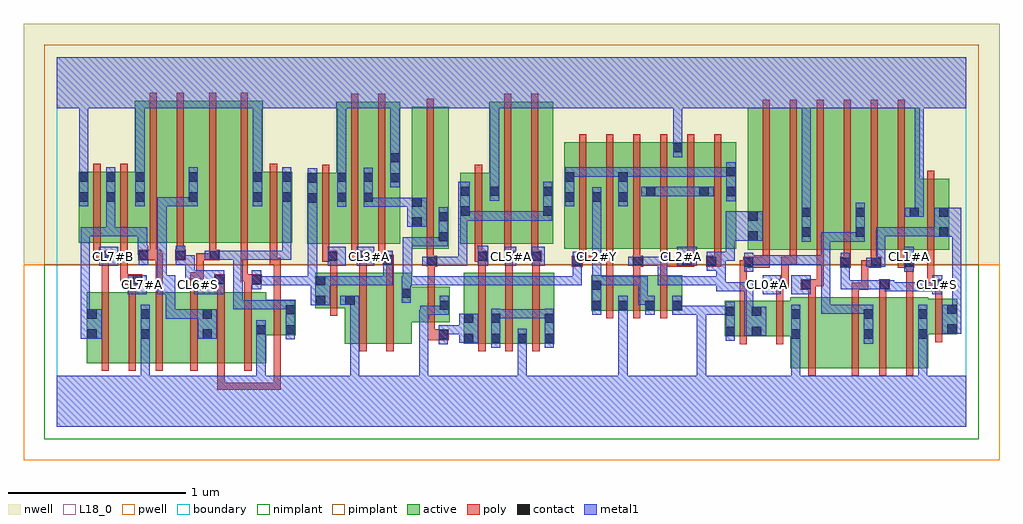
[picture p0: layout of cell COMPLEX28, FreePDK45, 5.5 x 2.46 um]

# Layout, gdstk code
import gdstk
lib = gdstk.Library(unit=1e-6, precision=1e-09)
def R(c, l, rs):  # rectangles x0, y0, x1, y1
    for r in rs: c.add(gdstk.rectangle(r[:2], r[2:], *l))
def A(c, l, x, y, w, h, nx, ny, dx, dy):  # array of equal rectangles
    R(c, l, [(x+i*dx, y+j*dy, x+i*dx+w, y+j*dy+h) for i in range(nx) for j in range(ny)])
active = (1, 0)
pwell = (2, 0)
nwell = (3, 0)
nimplant = (4, 0)
pimplant = (5, 0)
poly = (9, 0)
contact = (10, 0)
metal1 = (11, 0)
L18_0 = (18, 0)
boundary = (235, 0)

complex28 = lib.new_cell('COMPLEX28')
A(complex28, active, 4.07, 0.996, 0.18, 0.8, 3, 1, 0.304, 0)
R(complex28, active, [(4.13,0.33,4.37,0.73), (4.37,0.33,4.6,0.73), (4.54,0.33,4.726,0.73), (4.726,0.33,4.906,0.73), (4.846,0.33,4.906,0.664), (0.168,0.358,0.348,0.758), (0.348,0.358,0.528,0.758), (0.468,0.358,0.67,0.758), (0.67,0.358,0.876,0.758), (0.816,0.358,1,0.758), (1,0.358,1.18,0.758), (0.168,0.468,0.228,0.758), (0.468,0.468,0.528,0.664), (0.816,0.468,0.876,0.664), (1.62,0.468,1.8,0.868), (1.62,0.468,1.68,0.868), (1.8,0.468,1.998,0.868), (1.938,0.468,1.998,0.782), (2.29,0.468,2.35,0.868), (2.29,0.468,2.502,0.868), (2.442,0.468,2.502,0.868), (2.442,0.468,2.65,0.868), (2.59,0.468,2.802,0.868), (2.59,0.468,2.65,0.854), (2.742,0.468,2.802,0.868), (4.54,0.468,4.6,0.73), (4.13,0.492,4.19,0.708), (3.762,0.508,3.822,0.708), (3.762,0.508,3.97,0.708), (3.91,0.508,3.97,0.708), (3.91,0.508,4.19,0.708), (1.12,0.516,1.344,0.716), (1.12,0.516,1.18,0.576), (1.284,0.516,1.344,0.716), (4.846,0.52,5.07,0.72), (5.01,0.52,5.07,0.72), (1.938,0.588,2.212,0.788), (2.152,0.588,2.212,0.788), (3.01,0.654,3.07,0.854), (3.01,0.654,3.218,0.854), (3.158,0.654,3.37,0.854), (3.158,0.654,3.218,0.714), (3.31,0.654,3.37,0.854), (3.31,0.654,3.522,0.854), (3.462,0.654,3.522,0.854), (1.454,0.668,1.514,0.868), (1.454,0.668,1.68,0.868), (3.89,0.996,4.07,1.796), (3.89,0.996,3.974,1.724), (4.19,0.996,4.374,1.796), (4.19,0.996,4.25,1.756), (4.494,0.996,4.678,1.796), (4.494,0.996,4.554,1.724), (4.798,0.996,4.858,1.356), (4.798,0.996,5.024,1.396), (4.964,0.996,5.024,1.356), (1.998,1.002,2.058,1.724), (1.998,1.002,2.206,1.802), (2.146,1.002,2.206,1.724), (2.858,1.002,2.918,1.556), (2.858,1.002,3.07,1.602), (3.01,1.002,3.07,1.556), (3.01,1.002,3.218,1.602), (3.158,1.002,3.218,1.556), (3.158,1.002,3.374,1.602), (3.314,1.002,3.374,1.556), (3.314,1.002,3.526,1.602), (3.466,1.002,3.674,1.602), (3.614,1.002,3.674,1.556), (3.614,1.002,3.826,1.602), (3.766,1.002,3.826,1.556), (1.41,1.03,1.47,1.43), (1.41,1.03,1.634,1.43), (1.574,1.03,1.784,1.83), (1.574,1.03,1.634,1.434), (1.724,1.03,1.934,1.83), (2.27,1.03,2.33,1.356), (2.27,1.03,2.494,1.43), (2.434,1.03,2.614,1.83), (2.434,1.03,2.494,1.356), (2.614,1.03,2.794,1.83), (2.734,1.03,2.794,1.724), (0.122,1.036,0.182,1.436), (0.122,1.036,0.334,1.436), (0.274,1.036,0.334,1.436), (0.274,1.036,0.498,1.436), (0.438,1.036,0.498,1.436), (0.438,1.036,0.618,1.836), (0.618,1.036,0.798,1.836), (0.738,1.036,0.98,1.836), (0.98,1.036,1.16,1.836), (1.1,1.036,1.16,1.436), (1.1,1.036,1.324,1.436), (1.264,1.036,1.324,1.436), (3.466,1.164,3.526,1.602), (0.738,1.206,0.798,1.724), (1.724,1.206,1.784,1.724), (1.874,1.206,1.934,1.756)])
R(complex28, pwell, [(-0.188,-0.188,5.308,0.912)])
R(complex28, nwell, [(-0.188,0.912,5.308,2.268)])
R(complex28, nimplant, [(-0.072,-0.072,5.192,0.912)])
R(complex28, pimplant, [(-0.072,0.912,5.192,2.152)])
A(complex28, poly, 0.252, 0.314, 0.04, 0.488, 3, 1, 0.152, 0)
A(complex28, poly, 0.752, 0.314, 0.04, 0.488, 3, 1, 0.152, 0)
A(complex28, poly, 2.374, 0.424, 0.04, 0.488, 3, 1, 0.152, 0)
A(complex28, poly, 3.094, 0.61, 0.04, 0.288, 3, 1, 0.152, 0)
A(complex28, poly, 2.374, 0.872, 0.04, 0.098, 3, 1, 0.152, 0)
A(complex28, poly, 4.43, 0.916, 0.04, 0.076, 3, 1, 0.152, 0)
A(complex28, poly, 2.942, 0.922, 0.04, 0.076, 3, 1, 0.152, 0)
A(complex28, poly, 3.974, 0.952, 0.04, 0.888, 6, 1, 0.152, 0)
A(complex28, poly, 2.942, 0.958, 0.04, 0.688, 6, 1, 0.152, 0)
R(complex28, poly, [(0.904,0.208,0.944,0.248), (0.904,0.208,0.944,0.248), (0.904,0.208,0.944,0.248), (0.904,0.208,1.052,0.248), (0.904,0.208,0.944,0.354), (1.012,0.208,1.052,0.248), (1.012,0.208,1.052,0.248), (1.012,0.208,1.052,0.248), (1.012,0.208,1.26,0.248), (1.22,0.208,1.26,0.248), (1.22,0.208,1.26,0.248), (1.22,0.208,1.26,0.248), (1.22,0.208,1.26,0.248), (1.22,0.208,1.26,0.248), (1.22,0.208,1.26,0.512), (4.232,0.286,4.272,0.774), (4.476,0.286,4.516,0.774), (4.63,0.286,4.67,0.774), (4.782,0.286,4.822,0.774), (1.704,0.424,1.744,0.912), (1.856,0.424,1.896,0.912), (3.846,0.464,3.886,0.752), (4.05,0.464,4.09,0.752), (1.22,0.472,1.26,0.76), (4.946,0.476,4.986,0.764), (2.088,0.488,2.206,0.548), (2.088,0.508,2.128,0.584), (2.088,0.544,2.128,0.832), (1.538,0.624,1.578,0.912), (3.846,0.712,3.886,0.936), (4.05,0.712,4.09,0.81), (1.22,0.72,1.26,0.95), (4.946,0.724,4.986,0.81), (4.232,0.734,4.272,0.81), (4.476,0.734,4.516,0.81), (4.63,0.734,4.67,0.81), (4.782,0.734,4.822,0.936), (0.252,0.762,0.292,0.97), (0.404,0.762,0.444,0.838), (0.556,0.762,0.596,0.976), (0.752,0.762,0.792,0.87), (0.904,0.762,0.944,0.838), (1.056,0.762,1.096,0.838), (4.02,0.77,4.12,0.83), (4.19,0.77,4.272,0.83), (4.476,0.77,4.516,0.81), (4.476,0.77,4.57,0.81), (4.53,0.77,4.57,0.81), (4.53,0.77,4.57,0.936), (4.63,0.77,4.69,0.83), (4.926,0.77,4.986,0.83), (4.08,0.79,4.12,0.956), (4.232,0.79,4.272,0.83), (4.232,0.79,4.318,0.83), (4.278,0.79,4.318,0.992), (4.9,0.79,4.94,0.992), (4.9,0.79,4.966,0.83), (4.926,0.79,4.966,0.83), (2.088,0.792,2.128,0.942), (0.358,0.798,0.482,0.858), (0.886,0.798,0.946,0.858), (1.056,0.798,1.154,0.858), (0.358,0.818,0.398,0.858), (0.358,0.818,0.398,0.858), (0.358,0.818,0.398,1.032), (1.036,0.818,1.096,0.858), (1.036,0.818,1.076,1.032), (1.056,0.818,1.096,0.858), (0.752,0.83,0.792,0.87), (0.752,0.83,0.826,0.87), (0.786,0.83,0.826,0.87), (0.786,0.83,0.826,0.976), (3.094,0.858,3.134,0.962), (3.246,0.858,3.286,0.942), (3.398,0.858,3.438,0.942), (1.538,0.872,1.578,0.97), (1.704,0.872,1.744,0.97), (1.856,0.872,1.896,0.948), (3.846,0.896,3.906,0.936), (3.866,0.896,3.906,0.936), (3.866,0.896,4.014,0.956), (4.41,0.896,4.47,0.956), (4.53,0.896,4.57,0.936), (4.53,0.896,4.622,0.936), (4.582,0.896,4.642,0.956), (4.734,0.896,4.828,0.956), (4.782,0.896,4.822,0.936), (4.782,0.896,4.822,0.936), (2.082,0.902,2.142,0.962), (2.088,0.902,2.128,0.942), (2.088,0.902,2.128,0.942), (2.9,0.902,2.96,0.962), (3.242,0.902,3.302,0.962), (3.398,0.902,3.438,0.942), (3.398,0.902,3.438,0.942), (3.398,0.902,3.438,0.942), (3.398,0.902,3.558,0.942), (3.398,0.902,3.438,0.998), (3.518,0.902,3.558,0.942), (3.518,0.902,3.558,0.942), (3.518,0.902,3.59,0.962), (3.656,0.902,3.742,0.962), (1.834,0.908,1.896,0.968), (1.2,0.91,1.26,0.95), (1.2,0.91,1.24,1.032), (1.22,0.91,1.26,0.95), (1.22,0.91,1.26,0.95), (3.974,0.916,4.014,0.992), (4.08,0.916,4.166,0.956), (4.126,0.916,4.166,0.992), (2.082,0.922,2.122,0.998), (2.92,0.922,2.96,0.962), (2.92,0.922,2.982,0.962), (2.942,0.922,2.982,0.962), (2.942,0.922,2.982,0.962), (2.942,0.922,3.134,0.962), (3.094,0.922,3.134,0.962), (3.094,0.922,3.134,0.962), (3.094,0.922,3.134,0.962), (3.246,0.922,3.286,0.962), (3.246,0.922,3.286,0.962), (3.55,0.922,3.59,0.998), (3.702,0.922,3.742,0.998), (1.81,0.928,1.85,1.026), (1.81,0.928,1.874,0.968), (1.834,0.928,1.874,0.968), (0.234,0.93,0.294,0.99), (1.494,0.93,1.58,0.99), (1.538,0.93,1.578,0.97), (1.538,0.93,1.578,0.97), (1.658,0.93,1.744,0.99), (1.704,0.93,1.744,0.97), (1.704,0.93,1.744,0.97), (2.354,0.93,2.426,0.99), (2.374,0.93,2.414,0.97), (2.374,0.93,2.414,0.97), (2.518,0.93,2.578,0.99), (2.526,0.93,2.566,0.97), (2.526,0.93,2.566,0.97), (2.67,0.93,2.73,0.99), (2.678,0.93,2.718,0.97), (2.678,0.93,2.718,0.97), (0.458,0.936,0.588,0.996), (0.548,0.936,0.588,0.976), (0.548,0.936,0.596,0.976), (0.666,0.936,0.726,0.996), (0.786,0.936,0.826,0.976), (0.786,0.936,0.898,0.976), (0.858,0.936,0.918,0.996), (0.206,0.95,0.246,1.032), (0.206,0.95,0.274,0.99), (0.234,0.95,0.274,0.99), (1.494,0.95,1.534,1.026), (1.658,0.95,1.698,1.026), (2.354,0.95,2.394,1.026), (2.518,0.95,2.558,1.026), (2.67,0.95,2.71,1.026), (4.9,0.952,4.94,1.44), (0.522,0.956,0.562,1.032), (0.674,0.956,0.714,1.032), (0.858,0.956,0.898,1.032), (2.082,0.958,2.122,1.846), (1.494,0.986,1.534,1.474), (1.658,0.986,1.698,1.874), (1.81,0.986,1.85,1.874), (2.354,0.986,2.394,1.474), (2.518,0.986,2.558,1.874), (2.67,0.986,2.71,1.874), (0.206,0.992,0.246,1.48), (0.358,0.992,0.398,1.48), (0.522,0.992,0.562,1.88), (0.674,0.992,0.714,1.88), (0.858,0.992,0.898,1.88), (1.036,0.992,1.076,1.88), (1.2,0.992,1.24,1.48)])
A(complex28, contact, 3.162, 0.658, 0.052, 0.052, 3, 1, 0.152, 0)
A(complex28, contact, 2.37, 0.934, 0.052, 0.052, 3, 1, 0.152, 0)
A(complex28, contact, 4.194, 1.182, 0.052, 0.052, 3, 1, 0.304, 0)
R(complex28, contact, [(2.294,0.472,2.346,0.524), (2.446,0.472,2.498,0.524), (2.594,0.472,2.646,0.524), (2.746,0.472,2.798,0.524), (2.15,0.492,2.202,0.544), (0.172,0.496,0.224,0.548), (0.472,0.496,0.524,0.548), (0.82,0.496,0.872,0.548), (4.134,0.496,4.186,0.548), (4.544,0.496,4.596,0.548), (4.85,0.496,4.902,0.548), (3.766,0.512,3.818,0.564), (3.914,0.512,3.966,0.564), (1.124,0.52,1.176,0.572), (1.288,0.52,1.34,0.572), (5.014,0.524,5.066,0.576), (2.294,0.584,2.346,0.636), (2.446,0.584,2.498,0.636), (2.746,0.584,2.798,0.636), (0.172,0.608,0.224,0.66), (0.472,0.608,0.524,0.66), (0.82,0.608,0.872,0.66), (4.134,0.608,4.186,0.66), (4.544,0.608,4.596,0.66), (4.85,0.608,4.902,0.66), (3.766,0.624,3.818,0.676), (3.914,0.624,3.966,0.676), (1.288,0.632,1.34,0.684), (5.014,0.636,5.066,0.688), (2.156,0.658,2.208,0.71), (3.014,0.658,3.066,0.71), (1.458,0.684,1.51,0.736), (1.624,0.686,1.676,0.738), (1.942,0.726,1.994,0.778), (3.014,0.77,3.066,0.822), (4.024,0.774,4.076,0.826), (4.194,0.774,4.246,0.826), (4.634,0.774,4.686,0.826), (4.93,0.774,4.982,0.826), (1.458,0.796,1.51,0.848), (0.426,0.802,0.478,0.854), (0.89,0.802,0.942,0.854), (1.098,0.802,1.15,0.854), (3.87,0.9,3.922,0.952), (4.414,0.9,4.466,0.952), (4.586,0.9,4.638,0.952), (4.772,0.9,4.824,0.952), (2.086,0.906,2.138,0.958), (2.904,0.906,2.956,0.958), (3.246,0.906,3.298,0.958), (3.522,0.906,3.574,0.958), (3.66,0.906,3.712,0.958), (1.838,0.912,1.89,0.964), (0.238,0.934,0.29,0.986), (1.524,0.934,1.576,0.986), (1.688,0.934,1.74,0.986), (0.462,0.94,0.514,0.992), (0.67,0.94,0.722,0.992), (0.862,0.94,0.914,0.992), (2.15,1.044,2.202,1.096), (3.894,1.048,3.946,1.1), (4.194,1.07,4.246,1.122), (4.498,1.07,4.55,1.122), (4.968,1.07,5.02,1.122), (2.002,1.126,2.054,1.178), (2.15,1.156,2.202,1.208), (3.894,1.16,3.946,1.212), (4.968,1.182,5.02,1.234), (2.274,1.188,2.326,1.24), (2.738,1.188,2.79,1.24), (2.002,1.238,2.054,1.29), (1.414,1.262,1.466,1.314), (1.578,1.266,1.63,1.318), (1.728,1.266,1.78,1.318), (0.126,1.268,0.178,1.32), (0.278,1.268,0.33,1.32), (0.442,1.268,0.494,1.32), (0.742,1.268,0.794,1.32), (1.104,1.268,1.156,1.32), (1.268,1.268,1.32,1.32), (2.862,1.268,2.914,1.32), (3.014,1.268,3.066,1.32), (3.162,1.268,3.214,1.32), (3.318,1.298,3.37,1.35), (3.618,1.298,3.67,1.35), (3.77,1.298,3.822,1.35), (2.274,1.3,2.326,1.352), (2.438,1.3,2.49,1.352), (2.738,1.3,2.79,1.352), (1.414,1.374,1.466,1.426), (1.878,1.376,1.93,1.428), (1.578,1.378,1.63,1.43), (1.728,1.378,1.78,1.43), (0.126,1.38,0.178,1.432), (0.278,1.38,0.33,1.432), (0.442,1.38,0.494,1.432), (0.742,1.38,0.794,1.432), (1.104,1.38,1.156,1.432), (1.268,1.38,1.32,1.432), (2.862,1.38,2.914,1.432), (3.162,1.38,3.214,1.432), (3.77,1.41,3.822,1.462), (1.878,1.488,1.93,1.54), (3.47,1.546,3.522,1.598)])
A(complex28, metal1, 3.162, 0.63, 0.052, 0.108, 3, 1, 0.152, 0)
R(complex28, metal1, [(0,0,5.12,0.288), (0.472,0.236,0.524,0.52), (1.124,0.236,1.176,0.288), (1.124,0.236,1.176,0.288), (1.124,0.236,1.176,0.544), (1.652,0.236,1.704,0.738), (2.04,0.236,2.092,0.288), (2.04,0.236,2.092,0.288), (2.04,0.236,2.092,0.288), (2.04,0.236,2.092,0.288), (2.04,0.236,2.092,0.288), (2.04,0.236,2.092,0.288), (2.04,0.236,2.092,0.658), (2.594,0.236,2.646,0.496), (3.162,0.236,3.214,0.682), (3.604,0.236,3.656,0.682), (4.134,0.236,4.186,0.52), (4.85,0.236,4.902,0.288), (4.85,0.236,4.902,0.288), (4.85,0.236,4.902,0.52), (2.446,0.444,2.498,0.664), (2.594,0.444,2.646,0.496), (2.594,0.444,2.646,0.496), (2.594,0.444,2.646,0.552), (2.746,0.444,2.798,0.664), (2.15,0.464,2.202,0.572), (0.472,0.468,0.524,0.52), (0.472,0.468,0.524,0.52), (0.472,0.468,0.524,0.688), (4.134,0.468,4.186,0.52), (4.134,0.468,4.186,0.52), (4.134,0.468,4.186,0.688), (4.544,0.468,4.596,0.688), (4.85,0.468,4.902,0.688), (2.266,0.472,2.374,0.636), (3.766,0.484,3.818,0.704), (1.124,0.492,1.176,0.6), (1.288,0.492,1.34,0.712), (0.134,0.496,0.252,0.66), (0.792,0.496,0.9,0.66), (3.87,0.512,3.994,0.676), (2.15,0.52,2.312,0.572), (2.26,0.52,2.312,0.572), (2.26,0.52,2.318,0.572), (4.986,0.524,5.094,0.688), (2.04,0.606,2.098,0.658), (2.046,0.606,2.098,0.682), (0.134,0.608,0.186,0.958), (0.614,0.608,0.666,0.66), (0.614,0.608,0.666,0.66), (0.614,0.608,0.666,0.66), (0.614,0.608,0.666,0.798), (0.614,0.608,0.844,0.66), (2.446,0.61,2.608,0.662), (2.556,0.61,2.608,0.662), (2.556,0.61,2.608,0.662), (2.556,0.61,2.608,0.662), (2.556,0.61,2.798,0.662), (2.746,0.61,2.798,0.662), (2.746,0.61,2.798,0.662), (3.87,0.624,3.922,0.814), (2.046,0.63,2.098,0.682), (2.046,0.63,2.202,0.682), (2.15,0.63,2.202,0.682), (2.15,0.63,2.208,0.682), (2.156,0.63,2.208,0.738), (3.014,0.63,3.066,0.85), (3.162,0.63,3.214,0.682), (3.162,0.63,3.214,0.682), (3.162,0.63,3.214,0.682), (3.162,0.63,3.214,0.682), (3.162,0.63,3.214,0.682), (3.162,0.63,3.214,0.682), (3.466,0.63,3.546,0.682), (3.494,0.63,3.546,0.682), (3.494,0.63,3.656,0.682), (3.604,0.63,3.656,0.682), (3.604,0.63,3.656,0.682), (3.604,0.63,3.656,0.682), (3.604,0.63,3.656,0.682), (3.604,0.63,3.656,0.682), (3.604,0.63,3.656,0.682), (3.604,0.63,3.656,0.682), (3.604,0.63,3.656,0.682), (3.604,0.63,3.656,0.682), (3.604,0.63,3.656,0.682), (3.604,0.63,3.656,0.682), (3.604,0.63,3.766,0.682), (3.714,0.63,3.766,0.682), (3.714,0.63,3.818,0.682), (4.304,0.636,4.356,0.688), (4.304,0.636,4.356,0.688), (4.304,0.636,4.356,0.688), (4.304,0.636,4.356,0.688), (4.304,0.636,4.356,0.688), (4.304,0.636,4.596,0.688), (4.304,0.636,4.356,0.964), (5.042,0.636,5.094,1.122), (5.042,0.636,5.094,0.688), (5.042,0.636,5.094,0.688), (5.042,0.636,5.094,0.688), (5.042,0.636,5.094,0.688), (0.994,0.66,1.046,0.712), (0.994,0.66,1.046,0.712), (0.994,0.66,1.046,0.712), (0.994,0.66,1.202,0.712), (0.994,0.66,1.046,0.992), (1.15,0.66,1.202,0.712), (1.15,0.66,1.202,0.712), (1.15,0.66,1.202,0.712), (1.15,0.66,1.34,0.712), (1.288,0.66,1.34,0.712), (1.288,0.66,1.34,0.712), (1.43,0.684,1.538,0.848), (1.596,0.686,1.704,0.738), (1.652,0.686,1.704,0.738), (1.652,0.686,1.704,0.738), (3.274,0.686,3.326,0.848), (3.274,0.686,3.366,0.738), (1.942,0.698,1.994,0.806), (0.398,0.746,0.506,0.854), (0.566,0.746,0.666,0.854), (0.774,0.746,0.942,0.882), (3.974,0.746,4.076,0.854), (4.134,0.746,4.246,0.854), (4.93,0.746,4.986,0.854), (1.942,0.754,1.994,0.848), (3.714,0.762,3.818,0.814), (3.714,0.762,3.766,0.848), (3.766,0.762,3.818,0.814), (3.766,0.762,3.876,0.814), (3.824,0.762,3.876,0.814), (3.824,0.762,3.922,0.814), (3.87,0.762,3.922,0.814), (4.662,0.762,4.824,0.814), (4.662,0.762,4.714,0.826), (4.772,0.762,4.824,0.814), (4.772,0.762,4.824,0.814), (4.772,0.762,4.824,0.814), (4.772,0.762,4.982,0.814), (1.098,0.774,1.15,0.882), (4.414,0.774,4.466,0.826), (4.414,0.774,4.658,0.826), (4.414,0.774,4.466,0.924), (4.606,0.774,4.714,0.826), (4.662,0.774,4.714,0.826), (1.098,0.796,1.202,0.848), (1.15,0.796,1.202,0.848), (1.15,0.796,1.312,0.848), (1.26,0.796,1.312,0.848), (1.26,0.796,1.312,0.848), (1.26,0.796,1.312,0.848), (1.26,0.796,1.466,0.848), (1.414,0.796,1.466,0.848), (1.414,0.796,1.466,0.848), (1.414,0.796,1.466,1.286), (1.414,0.796,1.482,0.848), (1.43,0.796,1.482,0.848), (1.43,0.796,1.482,0.848), (1.43,0.796,1.482,0.848), (1.43,0.796,1.67,0.848), (1.618,0.796,1.67,0.848), (1.618,0.796,1.67,0.848), (1.618,0.796,1.67,0.848), (1.618,0.796,1.78,0.848), (1.728,0.796,1.78,0.848), (1.728,0.796,1.89,0.848), (1.838,0.796,1.89,0.992), (1.942,0.796,1.994,0.848), (1.942,0.796,2,0.848), (1.948,0.796,2,0.848), (1.948,0.796,2,0.848), (1.948,0.796,2,0.848), (1.948,0.796,2.202,0.848), (1.948,0.796,2,1.068), (2.15,0.796,2.202,0.848), (2.15,0.796,2.312,0.848), (2.26,0.796,2.312,0.848), (2.26,0.796,2.312,0.848), (2.26,0.796,2.312,0.848), (2.26,0.796,2.422,0.848), (2.37,0.796,2.422,0.848), (2.37,0.796,2.498,0.848), (2.446,0.796,2.498,0.848), (2.446,0.796,2.616,0.848), (2.564,0.796,2.616,0.848), (2.564,0.796,2.616,0.848), (2.564,0.796,2.616,0.848), (2.564,0.796,2.802,0.848), (2.75,0.796,2.802,0.848), (2.75,0.796,2.802,0.848), (2.75,0.796,2.802,0.848), (2.75,0.796,2.956,0.848), (2.904,0.796,2.956,0.93), (3.014,0.796,3.066,0.848), (3.014,0.796,3.066,0.848), (3.014,0.796,3.176,0.848), (3.124,0.796,3.176,0.848), (3.124,0.796,3.326,0.848), (3.384,0.796,3.508,0.848), (3.384,0.796,3.436,0.958), (3.456,0.796,3.508,0.848), (3.456,0.796,3.546,0.848), (3.494,0.796,3.546,0.848), (3.494,0.796,3.656,0.848), (3.604,0.796,3.656,0.848), (3.604,0.796,3.656,0.848), (3.604,0.796,3.656,0.848), (3.604,0.796,3.766,0.848), (3.714,0.796,3.766,0.986), (3.014,0.798,3.066,0.958), (0.566,0.802,0.618,1.292), (0.724,0.83,0.776,0.964), (0.724,0.83,0.826,0.882), (3.87,0.872,3.922,0.98), (4.414,0.872,4.466,0.924), (4.414,0.872,4.466,0.924), (4.414,0.872,4.466,0.98), (4.772,0.872,4.826,1.014), (2.904,0.878,2.956,0.93), (2.904,0.878,2.956,0.986), (3.66,0.878,3.712,0.986), (4.558,0.9,4.666,0.952), (4.614,0.9,4.666,0.952), (4.614,0.9,4.666,0.952), (4.614,0.9,4.666,1.124), (0.134,0.906,0.186,1.014), (0.238,0.906,0.346,1.014), (1.524,0.906,1.626,1.014), (1.688,0.906,1.786,1.014), (2.058,0.906,2.166,0.958), (2.114,0.906,2.312,0.958), (2.26,0.906,2.312,0.958), (2.26,0.906,2.312,0.958), (2.26,0.906,2.312,0.958), (2.26,0.906,2.312,1.212), (2.37,0.906,2.43,1.018), (2.522,0.906,2.586,1.014), (2.674,0.906,2.746,1.014), (3.014,0.906,3.066,1.014), (3.218,0.906,3.326,0.958), (3.274,0.906,3.398,0.958), (3.346,0.906,3.398,0.958), (3.346,0.906,3.436,0.958), (3.494,0.906,3.602,1.014), (0.462,0.912,0.514,1.02), (0.67,0.912,0.722,1.02), (0.67,0.912,0.776,0.964), (0.724,0.912,0.776,0.964), (0.724,0.912,0.776,0.964), (3.87,0.912,4.076,0.964), (4.024,0.912,4.076,0.964), (4.024,0.912,4.076,0.964), (4.024,0.912,4.076,0.964), (4.024,0.912,4.186,0.964), (4.134,0.912,4.186,0.964), (4.134,0.912,4.186,0.964), (4.134,0.912,4.186,0.964), (4.134,0.912,4.356,0.964), (4.304,0.912,4.356,0.964), (4.304,0.912,4.356,1.094), (3.66,0.934,3.766,0.986), (3.714,0.934,3.766,0.986), (3.714,0.934,3.818,0.986), (3.766,0.934,3.818,0.986), (3.766,0.934,3.818,1.1), (0.834,0.94,0.942,0.992), (0.89,0.94,1.046,0.992), (0.994,0.94,1.046,0.992), (0.994,0.94,1.156,0.992), (1.104,0.94,1.156,0.992), (1.104,0.94,1.156,0.992), (1.104,0.94,1.156,0.992), (1.104,0.94,1.32,0.992), (1.268,0.94,1.32,0.992), (1.268,0.94,1.32,0.992), (1.268,0.94,1.32,0.992), (1.268,0.94,1.32,1.292), (0.134,0.962,0.186,1.124), (3.014,0.962,3.066,1.292), (0.456,0.968,0.514,1.02), (0.456,0.968,0.508,1.124), (1.948,1.016,2,1.068), (1.948,1.016,2.202,1.068), (2.15,1.016,2.202,1.068), (2.15,1.016,2.202,1.068), (2.15,1.016,2.202,1.236), (4.194,1.042,4.246,1.262), (4.304,1.042,4.356,1.094), (4.304,1.042,4.356,1.094), (4.304,1.042,4.356,1.094), (4.304,1.042,4.55,1.094), (4.498,1.042,4.55,1.262), (3.766,1.048,3.974,1.212), (4.94,1.07,5.094,1.234), (0.134,1.072,0.186,1.124), (0.134,1.072,0.186,1.124), (0.134,1.072,0.186,1.124), (0.134,1.072,0.33,1.124), (0.278,1.072,0.33,1.124), (0.278,1.072,0.33,1.124), (0.278,1.072,0.33,1.124), (0.278,1.072,0.33,1.292), (0.278,1.072,0.508,1.124), (4.614,1.072,4.666,1.124), (4.614,1.072,4.824,1.124), (4.772,1.072,4.824,1.124), (4.772,1.072,4.824,1.124), (4.772,1.072,4.824,1.124), (4.772,1.072,4.992,1.124), (4.94,1.072,4.992,1.124), (4.94,1.072,4.992,1.124), (1.974,1.126,2.082,1.29), (2.26,1.16,2.326,1.38), (2.274,1.16,2.436,1.212), (2.384,1.16,2.436,1.212), (2.384,1.16,2.436,1.212), (2.384,1.16,2.436,1.212), (2.384,1.16,2.608,1.212), (2.556,1.16,2.608,1.212), (2.556,1.16,2.608,1.212), (2.556,1.16,2.608,1.212), (2.556,1.16,2.79,1.212), (2.738,1.16,2.79,1.212), (2.738,1.16,2.79,1.212), (2.738,1.16,2.79,1.38), (4.774,1.182,4.882,1.234), (4.83,1.182,4.882,1.844), (4.194,1.21,4.246,1.844), (1.414,1.234,1.466,1.454), (1.578,1.238,1.63,1.458), (1.728,1.238,1.78,1.29), (1.728,1.238,1.78,1.29), (1.728,1.238,1.78,1.458), (1.728,1.238,1.89,1.29), (1.838,1.238,1.89,1.29), (1.838,1.238,1.89,1.29), (1.838,1.238,1.89,1.29), (1.838,1.238,2.026,1.29), (0.126,1.24,0.178,1.46), (0.278,1.24,0.33,1.46), (0.442,1.24,0.494,1.46), (0.566,1.24,0.618,1.292), (0.566,1.24,0.618,1.292), (0.566,1.24,0.618,1.292), (0.566,1.24,0.666,1.292), (0.614,1.24,0.666,1.292), (0.614,1.24,0.794,1.292), (0.742,1.24,0.794,1.46), (1.104,1.24,1.156,1.46), (1.268,1.24,1.32,1.46), (2.862,1.24,2.914,1.46), (3.014,1.24,3.066,1.292), (3.014,1.24,3.066,1.292), (3.014,1.24,3.066,1.348), (3.162,1.24,3.214,1.46), (3.77,1.27,3.822,1.49), (2.438,1.272,2.49,1.38), (3.29,1.298,3.398,1.35), (3.346,1.298,3.436,1.35), (3.384,1.298,3.436,1.35), (3.384,1.298,3.508,1.35), (3.456,1.298,3.508,1.35), (3.456,1.298,3.546,1.35), (3.494,1.298,3.546,1.35), (3.494,1.298,3.642,1.35), (3.59,1.298,3.698,1.35), (2.438,1.328,2.49,1.844), (1.878,1.348,1.93,1.568), (1.578,1.406,1.63,1.844), (0.126,1.408,0.178,1.844), (0.442,1.408,0.494,1.844), (1.104,1.408,1.156,1.844), (2.862,1.408,2.914,1.46), (2.862,1.408,2.914,1.46), (2.862,1.408,3.066,1.46), (3.014,1.408,3.066,1.46), (3.014,1.408,3.066,1.46), (3.014,1.408,3.066,1.46), (3.014,1.408,3.214,1.46), (3.162,1.408,3.214,1.46), (3.162,1.408,3.214,1.46), (3.162,1.408,3.324,1.46), (3.272,1.408,3.324,1.46), (3.272,1.408,3.436,1.46), (3.384,1.408,3.436,1.46), (3.384,1.408,3.532,1.46), (3.48,1.408,3.532,1.46), (3.48,1.408,3.546,1.46), (3.494,1.408,3.546,1.46), (3.494,1.408,3.656,1.46), (3.604,1.408,3.656,1.46), (3.604,1.408,3.656,1.46), (3.604,1.408,3.656,1.46), (3.604,1.408,3.822,1.46), (1.878,1.516,1.93,1.844), (3.47,1.518,3.522,1.626), (3.47,1.574,3.522,1.626), (3.47,1.574,3.522,1.626), (3.47,1.574,3.522,1.626), (3.47,1.574,3.522,1.626), (3.47,1.574,3.522,1.844), (0,1.792,5.12,2.08), (0.126,1.792,0.178,1.844), (0.126,1.792,0.178,1.844), (0.126,1.792,0.178,1.844), (0.126,1.792,0.178,1.844), (0.126,1.792,0.178,1.844), (0.126,1.792,0.178,1.844), (0.126,1.792,0.178,1.844), (0.126,1.792,0.178,1.844)])
A(complex28, L18_0, 3.162, 0.63, 0.052, 0.108, 3, 1, 0.152, 0)
A(complex28, L18_0, 0.454, 0.774, 0.052, 0.052, 3, 1, 0.16, 0)
A(complex28, L18_0, 2.374, 0.934, 0.052, 0.052, 3, 1, 0.16, 0)
R(complex28, L18_0, [(0,0,5.12,0.288), (0.472,0.236,0.524,0.52), (1.124,0.236,1.176,0.288), (1.124,0.236,1.176,0.288), (1.124,0.236,1.176,0.544), (1.652,0.236,1.704,0.738), (2.04,0.236,2.092,0.288), (2.04,0.236,2.092,0.288), (2.04,0.236,2.092,0.288), (2.04,0.236,2.092,0.288), (2.04,0.236,2.092,0.288), (2.04,0.236,2.092,0.288), (2.04,0.236,2.092,0.658), (2.594,0.236,2.646,0.496), (3.162,0.236,3.214,0.682), (3.604,0.236,3.656,0.682), (4.134,0.236,4.186,0.52), (4.85,0.236,4.902,0.288), (4.85,0.236,4.902,0.288), (4.85,0.236,4.902,0.52), (2.594,0.444,2.646,0.552), (2.594,0.444,2.646,0.496), (2.594,0.444,2.646,0.496), (0.472,0.468,0.524,0.52), (0.472,0.468,0.524,0.52), (0.472,0.468,0.524,0.688), (4.134,0.468,4.186,0.52), (4.134,0.468,4.186,0.52), (4.134,0.468,4.186,0.688), (4.85,0.468,4.902,0.688), (3.766,0.484,3.818,0.704), (1.124,0.492,1.176,0.6), (0.134,0.496,0.252,0.66), (0.792,0.496,0.9,0.66), (2.04,0.606,2.098,0.658), (2.046,0.606,2.098,0.682), (0.134,0.608,0.186,0.958), (0.614,0.608,0.666,0.66), (0.614,0.608,0.666,0.66), (0.614,0.608,0.666,0.66), (0.614,0.608,0.844,0.66), (0.614,0.608,0.666,0.798), (2.046,0.63,2.098,0.682), (2.046,0.63,2.202,0.682), (2.15,0.63,2.202,0.682), (2.15,0.63,2.208,0.682), (2.156,0.63,2.208,0.738), (3.014,0.63,3.066,0.85), (3.162,0.63,3.214,0.682), (3.162,0.63,3.214,0.682), (3.162,0.63,3.214,0.682), (3.162,0.63,3.214,0.682), (3.162,0.63,3.214,0.682), (3.162,0.63,3.214,0.682), (3.466,0.63,3.546,0.682), (3.494,0.63,3.546,0.682), (3.494,0.63,3.656,0.682), (3.604,0.63,3.656,0.682), (3.604,0.63,3.656,0.682), (3.604,0.63,3.656,0.682), (3.604,0.63,3.656,0.682), (3.604,0.63,3.656,0.682), (3.604,0.63,3.656,0.682), (3.604,0.63,3.656,0.682), (3.604,0.63,3.656,0.682), (3.604,0.63,3.656,0.682), (3.604,0.63,3.656,0.682), (3.604,0.63,3.656,0.682), (3.604,0.63,3.766,0.682), (3.714,0.63,3.766,0.682), (3.714,0.63,3.818,0.682), (1.596,0.686,1.704,0.738), (1.652,0.686,1.704,0.738), (1.652,0.686,1.704,0.738), (3.274,0.686,3.326,0.848), (3.274,0.686,3.366,0.738), (0.398,0.746,0.506,0.854), (0.566,0.746,0.666,0.854), (0.774,0.746,0.942,0.882), (3.974,0.746,4.076,0.854), (4.134,0.746,4.246,0.854), (4.93,0.746,4.986,0.854), (4.662,0.762,4.824,0.814), (4.662,0.762,4.714,0.826), (4.772,0.762,4.824,0.814), (4.772,0.762,4.824,0.814), (4.772,0.762,4.824,0.814), (4.772,0.762,4.982,0.814), (3.974,0.774,4.026,0.826), (4.134,0.774,4.186,0.826), (4.414,0.774,4.466,0.826), (4.414,0.774,4.466,0.924), (4.414,0.774,4.658,0.826), (4.606,0.774,4.714,0.826), (4.662,0.774,4.714,0.826), (4.934,0.774,4.986,0.826), (3.014,0.796,3.066,0.848), (3.014,0.796,3.066,0.848), (3.014,0.796,3.176,0.848), (3.124,0.796,3.176,0.848), (3.124,0.796,3.326,0.848), (3.014,0.798,3.066,0.958), (0.566,0.802,0.618,1.292), (0.724,0.83,0.776,0.964), (0.724,0.83,0.826,0.882), (4.414,0.872,4.466,0.98), (4.414,0.872,4.466,0.924), (4.414,0.872,4.466,0.924), (4.772,0.872,4.826,1.014), (0.134,0.906,0.186,1.014), (0.238,0.906,0.346,1.014), (1.524,0.906,1.626,1.014), (1.688,0.906,1.786,1.014), (2.37,0.906,2.43,1.018), (2.522,0.906,2.586,1.014), (2.674,0.906,2.746,1.014), (3.014,0.906,3.066,1.014), (3.494,0.906,3.602,1.014), (0.462,0.912,0.514,1.02), (0.67,0.912,0.722,1.02), (0.67,0.912,0.776,0.964), (0.724,0.912,0.776,0.964), (0.724,0.912,0.776,0.964), (0.134,0.934,0.186,0.986), (0.294,0.934,0.346,0.986), (1.574,0.934,1.626,0.986), (1.734,0.934,1.786,0.986), (3.014,0.934,3.066,0.986), (3.494,0.934,3.546,0.986), (4.774,0.934,4.826,0.986), (0.134,0.962,0.186,1.124), (3.014,0.962,3.066,1.292), (0.456,0.968,0.508,1.124), (0.456,0.968,0.514,1.02), (4.194,1.042,4.246,1.262), (0.134,1.072,0.186,1.124), (0.134,1.072,0.186,1.124), (0.134,1.072,0.186,1.124), (0.134,1.072,0.33,1.124), (0.278,1.072,0.33,1.124), (0.278,1.072,0.33,1.124), (0.278,1.072,0.33,1.124), (0.278,1.072,0.33,1.292), (0.278,1.072,0.508,1.124), (4.774,1.182,4.882,1.234), (4.83,1.182,4.882,1.844), (4.194,1.21,4.246,1.844), (1.578,1.238,1.63,1.458), (0.126,1.24,0.178,1.46), (0.278,1.24,0.33,1.46), (0.442,1.24,0.494,1.46), (0.566,1.24,0.618,1.292), (0.566,1.24,0.618,1.292), (0.566,1.24,0.618,1.292), (0.566,1.24,0.666,1.292), (0.614,1.24,0.666,1.292), (0.614,1.24,0.794,1.292), (0.742,1.24,0.794,1.46), (1.104,1.24,1.156,1.46), (3.014,1.24,3.066,1.348), (3.014,1.24,3.066,1.292), (3.014,1.24,3.066,1.292), (2.438,1.272,2.49,1.38), (2.438,1.328,2.49,1.844), (1.878,1.348,1.93,1.568), (1.578,1.406,1.63,1.844), (0.126,1.408,0.178,1.844), (0.442,1.408,0.494,1.844), (1.104,1.408,1.156,1.844), (1.878,1.516,1.93,1.844), (3.47,1.518,3.522,1.626), (3.47,1.574,3.522,1.626), (3.47,1.574,3.522,1.626), (3.47,1.574,3.522,1.626), (3.47,1.574,3.522,1.626), (3.47,1.574,3.522,1.844), (0,1.792,5.12,2.08), (0.126,1.792,0.178,1.844), (0.126,1.792,0.178,1.844), (0.126,1.792,0.178,1.844), (0.126,1.792,0.178,1.844), (0.126,1.792,0.178,1.844), (0.126,1.792,0.178,1.844), (0.126,1.792,0.178,1.844), (0.126,1.792,0.178,1.844)])
R(complex28, boundary, [(0,0,5.12,2.08)])
complex28.add(gdstk.Label('CL0#A', (4,0.8), layer=11, texttype=0))
complex28.add(gdstk.Label('CL1#A', (4.8,0.96), layer=11, texttype=0))
complex28.add(gdstk.Label('CL1#B', (4.16,0.8), layer=11, texttype=0))
complex28.add(gdstk.Label('CL1#S', (4.96,0.8), layer=11, texttype=0))
complex28.add(gdstk.Label('CL2#A', (3.52,0.96), layer=11, texttype=0))
complex28.add(gdstk.Label('CL2#Y', (3.04,0.96), layer=11, texttype=0))
complex28.add(gdstk.Label('CL3#A', (1.76,0.96), layer=11, texttype=0))
complex28.add(gdstk.Label('CL4#A', (1.6,0.96), layer=11, texttype=0))
complex28.add(gdstk.Label('CL5#A', (2.56,0.96), layer=11, texttype=0))
complex28.add(gdstk.Label('CL5#B', (2.72,0.96), layer=11, texttype=0))
complex28.add(gdstk.Label('CL5#C', (2.4,0.96), layer=11, texttype=0))
complex28.add(gdstk.Label('CL6#S', (0.8,0.8), layer=11, texttype=0))
complex28.add(gdstk.Label('CL6#Y', (0.64,0.8), layer=11, texttype=0))
complex28.add(gdstk.Label('CL7#A', (0.48,0.8), layer=11, texttype=0))
complex28.add(gdstk.Label('CL7#B', (0.32,0.96), layer=11, texttype=0))
complex28.add(gdstk.Label('CL7#Y', (0.16,0.96), layer=11, texttype=0))

lib.write_gds('COMPLEX28.gds')
